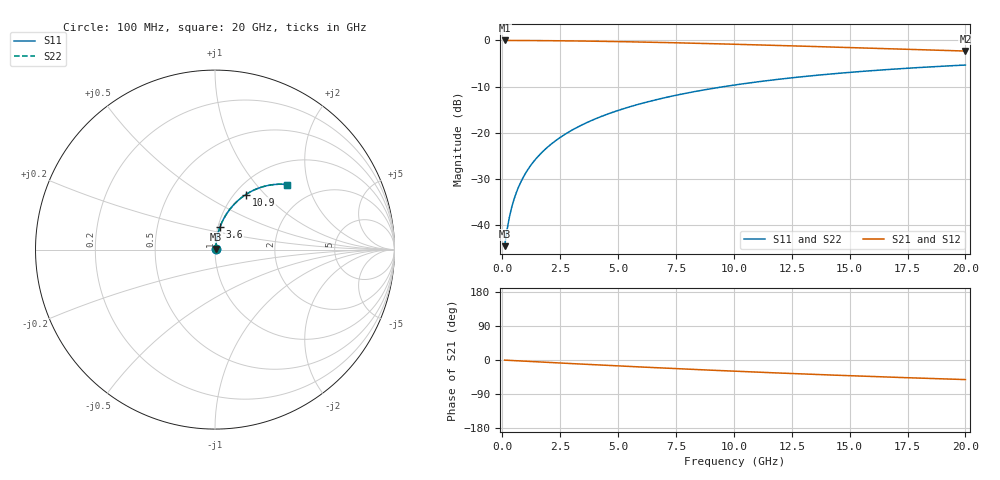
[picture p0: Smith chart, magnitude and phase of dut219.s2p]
! Touchstone file exported from HFSS 2024.1.0
!  File:  C:/UserFiles/LocalFiles/RDL_TSV_Batchsim/temp_RDL_bottom_219_1778700327.aedt
!  Generated:  03:28:23 AM May 14, 2026
!  Design:  RDL_bottom
!  Project:  temp_RDL_bottom_219_1778700327
!  Setup:  Setup1
!  Solution:  Sweep
! Variables:
!  dtsv = 10.80580581um
!  hbump = 3um
!  htsv = 99.17um
!  ldown = 697.1um
!  lrdl = 100um
!  p = 40
!  p1 = 52.37um
!  rhole = 1um
!  t = 450um
!  tdown = 4.37um
!  trdl = 3.915915916um
!  wdown = 12.22um
!  wrdl = 20um
# GHz S MA R 50.000000
! Terminal data exported
! Port[1] = RDL1_T1
! Port[2] = RDL1_T2
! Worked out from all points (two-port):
!   200 points, 100 MHz to 20 GHz, reference 50 ohm
!   highest |S21| = -0.04 dB at 100 MHz (marker M1); lowest = -2.3 dB at 20 GHz (marker M2)
!   |S21| within 3 dB of the highest: start of sweep to end of sweep
!   lowest |S11| = -44.5 dB at 100 MHz (marker M3), VSWR 1.01, Z = 50.5 + j0.372 ohm
!   |S11| at or under -10 dB: start of sweep to 9.6 GHz
!   |S22| runs from -44.5 to -5.4 dB; largest |S21 - S12| = 4.1e-15
!   S11 on the Smith chart (normalised r, x): 100 MHz: 1.01, +0.01; 3.6 GHz: 1.02, +0.26; 10.9 GHz: 1.12, +0.79; 20 GHz: 1.44, +1.47
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0.1  0.005939 38.3  0.9953 -0.3  0.9953 -0.3  0.005939 38.3
! Gamma 0 0 0 0
! Port Impedance 50 0 50 0
0.2  0.008755 56.9  0.9952 -0.7  0.9952 -0.7  0.008755 56.9
0.3  0.01202 65.6  0.9951 -1.0  0.9951 -1.0  0.01202 65.6
0.4  0.01541 70.4  0.9949 -1.3  0.9949 -1.3  0.01541 70.4
0.5  0.01886 73.3  0.9947 -1.6  0.9947 -1.6  0.01886 73.4
0.6  0.02233 75.3  0.9945 -1.9  0.9945 -1.9  0.02233 75.3
0.8  0.02931 77.7  0.9941 -2.6  0.9941 -2.6  0.02931 77.7
1.1  0.03983 79.4  0.9934 -3.5  0.9934 -3.5  0.03983 79.4
1.5  0.0539 80.2  0.9921 -4.8  0.9921 -4.8  0.0539 80.2
1.8  0.06445 80.3  0.9909 -5.7  0.9909 -5.7  0.06445 80.3
2.1  0.07499 80.1  0.9896 -6.7  0.9896 -6.7  0.07499 80.1
2.7  0.09595 79.3  0.9863 -8.6  0.9863 -8.6  0.09595 79.3
3.5  0.1236 77.8  0.9808 -11.0  0.9808 -11.0  0.1236 77.8
3.6  0.127 77.6  0.98 -11.3  0.98 -11.3  0.127 77.6
5  0.1743 74.5  0.9676 -15.6  0.9676 -15.6  0.1743 74.6
6.8  0.2325 70.3  0.9479 -20.8  0.9479 -20.8  0.2325 70.3
8.3  0.2785 66.8  0.9291 -24.9  0.9291 -24.9  0.2785 66.8
10.1  0.3302 62.6  0.9047 -29.7  0.9047 -29.7  0.3302 62.6
10.9  0.3519 60.7  0.8934 -31.7  0.8934 -31.7  0.3519 60.7
13.4  0.4142 55.2  0.8572 -37.8  0.8572 -37.8  0.4142 55.2
16.7  0.4837 48.4  0.8097 -45.1  0.8097 -45.1  0.4838 48.4
20  0.5398 42.2  0.7647 -51.7  0.7647 -51.7  0.5398 42.2
